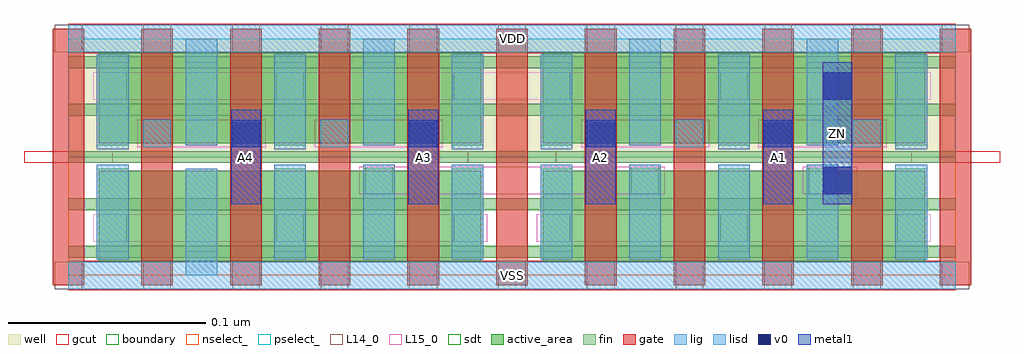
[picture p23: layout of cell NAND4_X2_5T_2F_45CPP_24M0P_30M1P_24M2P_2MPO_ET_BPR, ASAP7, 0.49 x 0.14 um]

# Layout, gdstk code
import gdstk
lib = gdstk.Library(unit=1e-6, precision=2.5e-10)
def R(c, l, rs):  # rectangles x0, y0, x1, y1
    for r in rs: c.add(gdstk.rectangle(r[:2], r[2:], *l))
def A(c, l, x, y, w, h, nx, ny, dx, dy):  # array of equal rectangles
    R(c, l, [(x+i*dx, y+j*dy, x+i*dx+w, y+j*dy+h) for i in range(nx) for j in range(ny)])
well = (1, 0)
fin = (2, 0)
gate = (7, 0)
gcut = (10, 0)
active_area = (11, 0)
nselect_ = (12, 0)
pselect_ = (13, 0)
L14_0 = (14, 0)
L15_0 = (15, 0)
lig = (16, 0)
lisd = (17, 0)
v0 = (18, 0)
metal1 = (19, 0)
sdt = (88, 0)
boundary = (100, 0)

nand4_x2_5t_2f_45cpp_24m = lib.new_cell('NAND4_X2_5T_2F_45CPP_24M0P_30M1P_24M2P_2MPO_ET_BPR')
R(nand4_x2_5t_2f_45cpp_24m, well, [(0,0.06,0.45,0.12)])
A(nand4_x2_5t_2f_45cpp_24m, fin, 0, 0.009, 0.45, 0.006, 1, 5, 0, 0.024)
A(nand4_x2_5t_2f_45cpp_24m, gate, -0.008, -0.005, 0.016, 0.13, 11, 1, 0.045, 0)
A(nand4_x2_5t_2f_45cpp_24m, gcut, -0.0225, 0.057, 0.045, 0.006, 3, 1, 0.225, 0)
R(nand4_x2_5t_2f_45cpp_24m, gcut, [(0,-0.0075,0.45,0.0075), (0,0.1125,0.45,0.1275)])
R(nand4_x2_5t_2f_45cpp_24m, active_area, [(0.0155,0.007,0.1195,0.053), (0.1055,0.007,0.2095,0.053), (0.2405,0.007,0.3445,0.053), (0.3305,0.007,0.4345,0.053), (0.0155,0.067,0.1195,0.113), (0.1055,0.067,0.2095,0.113), (0.2405,0.067,0.3445,0.113), (0.3305,0.067,0.4345,0.113)])
R(nand4_x2_5t_2f_45cpp_24m, nselect_, [(0,0,0.45,0.06)])
R(nand4_x2_5t_2f_45cpp_24m, pselect_, [(0,0.06,0.45,0.12)])
A(nand4_x2_5t_2f_45cpp_24m, L14_0, -0.007, -0.007, 0.014, 0.014, 11, 2, 0.045, 0.12)
A(nand4_x2_5t_2f_45cpp_24m, L14_0, 0.0155, 0.017, 0.014, 0.014, 3, 2, 0.09, 0.072)
A(nand4_x2_5t_2f_45cpp_24m, L14_0, 0.2405, 0.017, 0.014, 0.014, 3, 2, 0.09, 0.072)
A(nand4_x2_5t_2f_45cpp_24m, L14_0, 0.038, 0.065, 0.014, 0.014, 4, 1, 0.045, 0)
A(nand4_x2_5t_2f_45cpp_24m, L14_0, 0.263, 0.065, 0.014, 0.014, 4, 1, 0.045, 0)
R(nand4_x2_5t_2f_45cpp_24m, L14_0, [(0.1505,0.041,0.1645,0.055), (0.2855,0.041,0.2995,0.055), (0.3755,0.041,0.3895,0.055)])
R(nand4_x2_5t_2f_45cpp_24m, L15_0, [(0,-0.007,0.45,0.007), (0.0125,0.017,0.2125,0.031), (0.2375,0.017,0.4375,0.031), (0.1475,0.041,0.3025,0.055), (0.3725,0.041,0.4,0.055), (0.035,0.065,0.1,0.079), (0.125,0.065,0.19,0.079), (0.26,0.065,0.325,0.079), (0.35,0.065,0.415,0.079), (0.0125,0.089,0.4375,0.103), (0,0.113,0.45,0.127)])
A(nand4_x2_5t_2f_45cpp_24m, lig, 0.038, 0.065, 0.014, 0.014, 4, 1, 0.045, 0)
A(nand4_x2_5t_2f_45cpp_24m, lig, 0.263, 0.065, 0.014, 0.014, 4, 1, 0.045, 0)
R(nand4_x2_5t_2f_45cpp_24m, lig, [(0,-0.007,0.45,0.007), (0,0.113,0.45,0.127)])
A(nand4_x2_5t_2f_45cpp_24m, lisd, 0.1045, 0.008, 0.016, 0.048, 8, 1, 0.045, 0)
A(nand4_x2_5t_2f_45cpp_24m, lisd, 0.0145, 0.064, 0.016, 0.048, 3, 1, 0.09, 0)
A(nand4_x2_5t_2f_45cpp_24m, lisd, 0.2395, 0.064, 0.016, 0.048, 3, 1, 0.09, 0)
R(nand4_x2_5t_2f_45cpp_24m, lisd, [(0.0595,0,0.0755,0.054), (0.0145,0.008,0.0305,0.056), (0.0595,0.066,0.0755,0.12), (0.1495,0.066,0.1655,0.12), (0.2845,0.066,0.3005,0.12), (0.3745,0.066,0.3905,0.12)])
A(nand4_x2_5t_2f_45cpp_24m, v0, 0.083, 0.065, 0.014, 0.014, 4, 1, 0.09, 0)
R(nand4_x2_5t_2f_45cpp_24m, v0, [(0.383,0.041,0.397,0.055), (0.383,0.089,0.397,0.103)])
A(nand4_x2_5t_2f_45cpp_24m, metal1, 0.0825, 0.036, 0.015, 0.048, 4, 1, 0.09, 0)
R(nand4_x2_5t_2f_45cpp_24m, metal1, [(0.3825,0.036,0.3975,0.108)])
A(nand4_x2_5t_2f_45cpp_24m, sdt, 0.0145, 0.012, 0.016, 0.042, 10, 2, 0.045, 0.054)
R(nand4_x2_5t_2f_45cpp_24m, boundary, [(0,0,0.45,0.12)])
nand4_x2_5t_2f_45cpp_24m.add(gdstk.Label('ZN', (0.39,0.072), layer=19, texttype=251))
nand4_x2_5t_2f_45cpp_24m.add(gdstk.Label('A1', (0.36,0.06), layer=19, texttype=251))
nand4_x2_5t_2f_45cpp_24m.add(gdstk.Label('A2', (0.27,0.06), layer=19, texttype=251))
nand4_x2_5t_2f_45cpp_24m.add(gdstk.Label('A3', (0.18,0.06), layer=19, texttype=251))
nand4_x2_5t_2f_45cpp_24m.add(gdstk.Label('A4', (0.09,0.06), layer=19, texttype=251))
nand4_x2_5t_2f_45cpp_24m.add(gdstk.Label('VDD', (0.225,0.12), layer=15, texttype=251))
nand4_x2_5t_2f_45cpp_24m.add(gdstk.Label('VSS', (0.225,0), layer=15, texttype=251))
nand4_x2_5t_2f_45cpp_24m.add(gdstk.Label('VDD', (0.225,0.12), layer=1, texttype=251))
nand4_x2_5t_2f_45cpp_24m.add(gdstk.Label('VSS', (0.225,0), layer=3, texttype=251))

lib.write_gds('NAND4_X2_5T_2F_45CPP_24M0P_30M1P_24M2P_2MPO_ET_BPR.gds')
